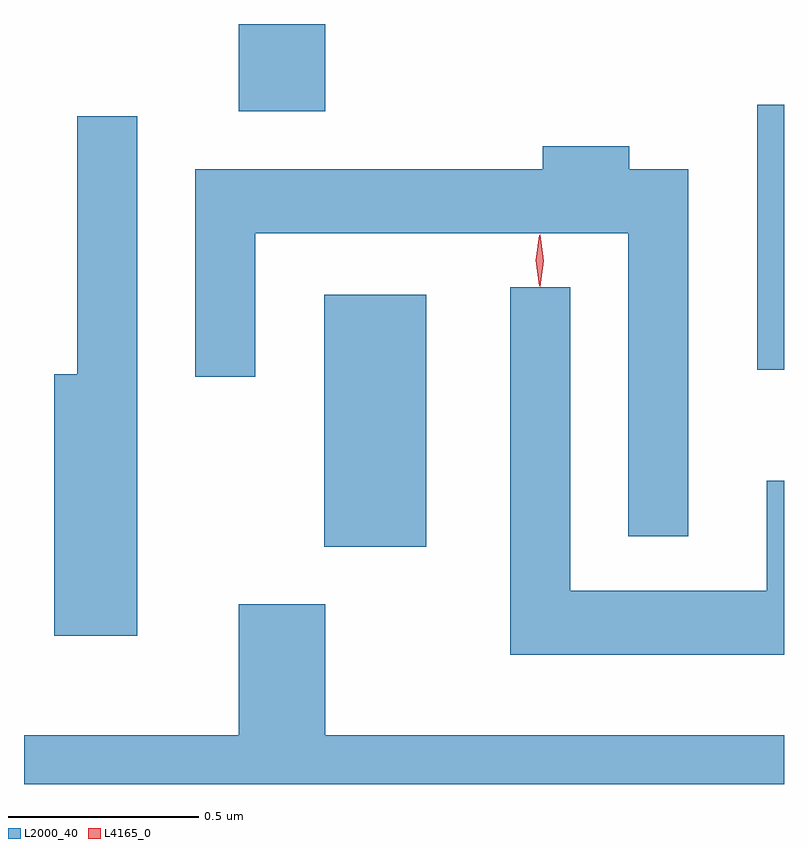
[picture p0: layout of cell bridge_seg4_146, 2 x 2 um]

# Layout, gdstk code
import gdstk
lib = gdstk.Library(unit=1e-6, precision=1e-09)
def R(c, l, rs):  # rectangles x0, y0, x1, y1
    for r in rs: c.add(gdstk.rectangle(r[:2], r[2:], *l))
def P(c, l, *ps):  # polygons
    for p in ps: c.add(gdstk.Polygon(p, *l))
L2000_40 = (2000, 40)
L4165_0 = (4165, 0)

bridge_seg4_146 = lib.new_cell('bridge_seg4_146')
R(bridge_seg4_146, L2000_40, [(927.516,1311.041,927.784,1311.704), (928.656,1311.506,928.726,1312.204), (927.291,1312.186,927.519,1312.416)])
P(bridge_seg4_146, L2000_40, [(927.024,1312.173),(926.866,1312.173),(926.866,1311.494),(926.806,1311.494),(926.806,1310.806),(927.024,1310.806)],
  [(928.474,1312.034),(928.319,1312.034),(928.319,1312.094),(928.091,1312.094),(928.091,1312.034),(927.176,1312.034),(927.176,1311.488),(927.334,1311.488),(927.334,1311.866),(928.316,1311.866),(928.316,1311.068),(928.474,1311.068)],
  [(928.726,1311.214),(928.681,1311.214),(928.681,1310.924),(928.164,1310.924),(928.164,1311.723),(928.006,1311.723),(928.006,1310.756),(928.726,1310.756)],
  [(927.519,1310.889),(927.291,1310.889),(927.291,1310.544),(926.726,1310.544),(926.726,1310.416),(928.726,1310.416),(928.726,1310.544),(927.519,1310.544)])
P(bridge_seg4_146, L4165_0, [(928.082,1311.727),(928.073,1311.794),(928.082,1311.86),(928.083,1311.86),(928.083,1311.86),(928.093,1311.794),(928.084,1311.727),(928.083,1311.727)],
  [(928.084,1311.724),(928.084,1311.724),(928.074,1311.793),(928.084,1311.862),(928.084,1311.863),(928.084,1311.862),(928.094,1311.793),(928.084,1311.724)])

lib.write_gds('bridge_seg4_146.gds')
